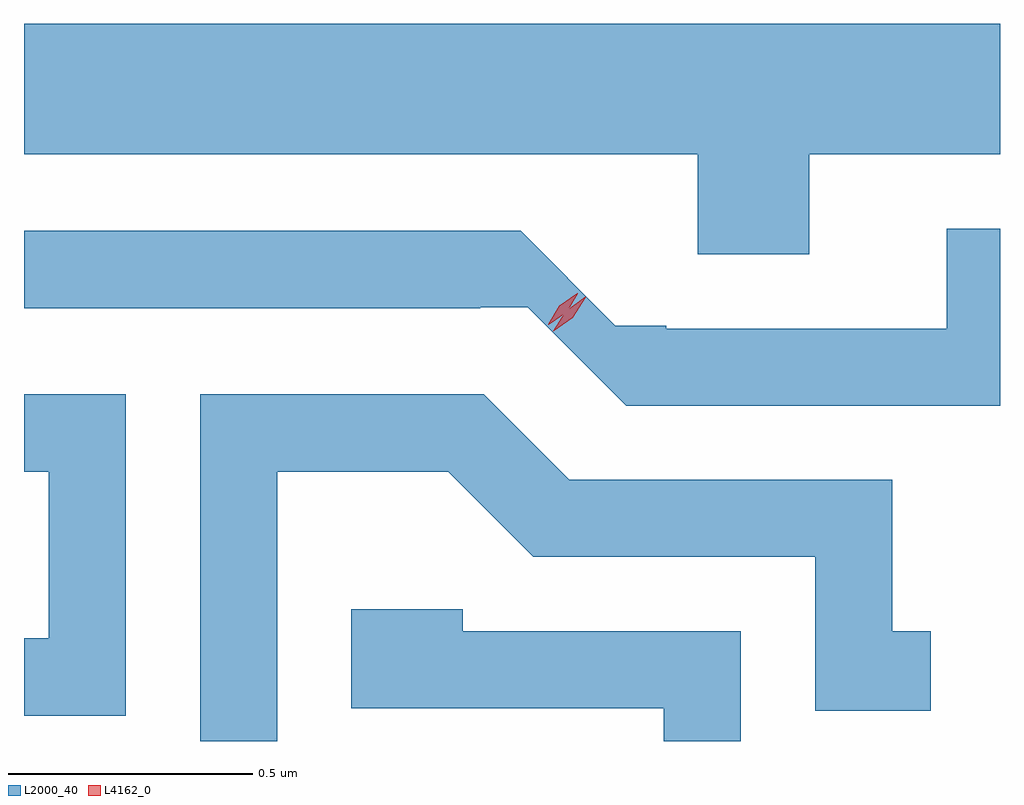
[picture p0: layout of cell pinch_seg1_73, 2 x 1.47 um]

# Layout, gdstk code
import gdstk
lib = gdstk.Library(unit=1e-6, precision=1e-09)
def P(c, l, *ps):  # polygons
    for p in ps: c.add(gdstk.Polygon(p, *l))
L2000_40 = (2000, 40)
L4162_0 = (4162, 0)

pinch_seg1_73 = lib.new_cell('pinch_seg1_73')
P(pinch_seg1_73, L2000_40, [(1407.169,859.616),(1407.56,859.616),(1407.56,859.884),(1405.56,859.884),(1405.56,859.616),(1406.941,859.616),(1406.941,859.411),(1407.169,859.411)],
  [(1407.56,859.464),(1407.451,859.464),(1407.451,859.259),(1406.876,859.259),(1406.876,859.265),(1406.772,859.265),(1406.578,859.459),(1405.56,859.459),(1405.56,859.301),(1406.495,859.301),(1406.495,859.303),(1406.592,859.303),(1406.794,859.101),(1407.56,859.101)],
  [(1406.079,858.966),(1406.429,858.966),(1406.604,858.791),(1407.181,858.791),(1407.181,858.476),(1407.418,858.476),(1407.418,858.639),(1407.339,858.639),(1407.339,858.949),(1406.677,858.949),(1406.502,859.124),(1405.921,859.124),(1405.921,858.413),(1406.079,858.413)],
  [(1405.769,859.124),(1405.56,859.124),(1405.56,858.966),(1405.611,858.966),(1405.611,858.624),(1405.56,858.624),(1405.56,858.466),(1405.769,858.466)],
  [(1407.029,858.639),(1406.459,858.639),(1406.459,858.684),(1406.231,858.684),(1406.231,858.481),(1406.871,858.481),(1406.871,858.413),(1407.029,858.413)])
P(pinch_seg1_73, L4162_0, [(1406.634,859.267),(1406.634,859.268),(1406.657,859.306),(1406.694,859.331),(1406.695,859.331),(1406.695,859.33),(1406.672,859.292),(1406.635,859.267)],
  [(1406.643,859.252),(1406.643,859.253),(1406.67,859.295),(1406.71,859.324),(1406.711,859.324),(1406.711,859.323),(1406.684,859.281),(1406.644,859.252)])

lib.write_gds('pinch_seg1_73.gds')
